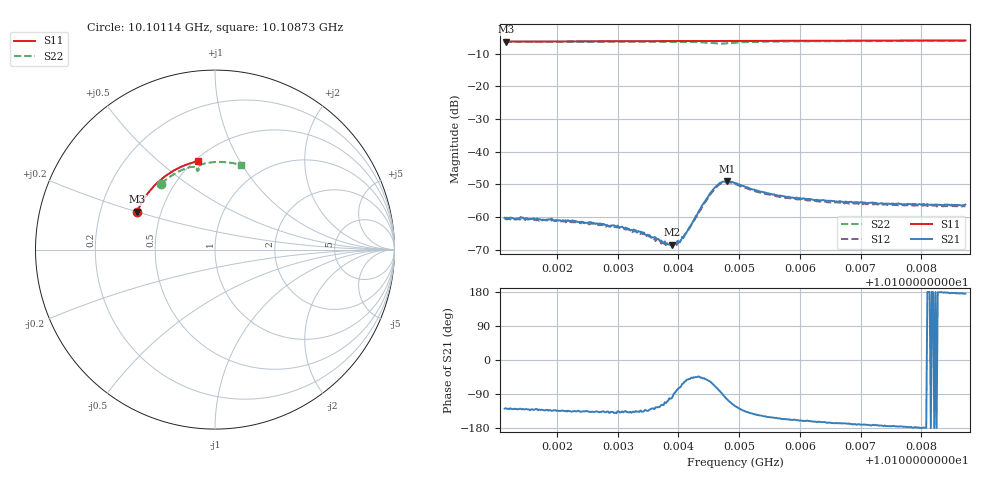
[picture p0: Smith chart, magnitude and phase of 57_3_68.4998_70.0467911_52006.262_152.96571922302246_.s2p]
#  HZ  S  RI  R  50.00
! Rohde & Schwarz Vector Network Analyzer
! Rohde-Schwarz,ZNB20-2Port,1311601062101988,3.16
! Created: UTC 3/20/2024, 5:06:15 PM
! freq[Hz]  re:S11  im:S11  re:S21  im:S21  re:S12  im:S12  re:S22  im:S22
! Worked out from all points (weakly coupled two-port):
!   401 points, 10.10114 GHz to 10.10873 GHz, reference 50 ohm
!   highest |S21| = -49.08 dB at 10.1048 GHz (marker M1); lowest = -68.5 dB at 10.10389 GHz (marker M2)
!   lowest |S11| = -6.3 dB at 10.10116 GHz (marker M3), VSWR 2.86, Z = 18.3 + j10.1 ohm
!   |S11| at or under -10 dB: nowhere
!   |S22| runs from -7.0 to -6.1 dB; largest |S21 - S12| = 0.00035
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1.0101136e10  -0.4337 0.2109  -0.000599 -0.000758  -0.000528 -0.000764  -0.2995 0.3681
1.0101155e10  -0.4331 0.2118  -0.000578 -0.000756  -0.000504 -0.000776  -0.2986 0.369
1.0101876e10  -0.4142 0.2516  -0.000606 -0.000677  -0.000545 -0.000703  -0.2622 0.3983
1.0102407e10  -0.3979 0.2795  -0.000606 -0.000582  -0.000535 -0.000626  -0.2334 0.4176
1.0103033e10  -0.3765 0.3108  -0.000517 -0.000461  -0.000455 -0.000499  -0.1971 0.4376
1.0103375e10  -0.3636 0.3271  -0.000403 -0.000432  -0.000338 -0.000426  -0.1757 0.447
1.0103679e10  -0.3517 0.3411  -0.000257 -0.000368  -0.000181 -0.00037  -0.1559 0.4543
1.0103792e10  -0.3469 0.3464  -0.000157 -0.000354  -0.000112 -0.000351  -0.1481 0.4567
1.0103887e10  -0.3431 0.3504  -6.91e-05 -0.00037  2.71e-06 -0.000386  -0.1413 0.4586
1.0103982e10  -0.3393 0.3546  9.19e-05 -0.000418  0.000124 -0.000379  -0.1342 0.4601
1.0104058e10  -0.336 0.3581  0.000216 -0.00044  0.000243 -0.000383  -0.1283 0.4608
1.0104172e10  -0.3311 0.3629  0.000431 -0.000518  0.000458 -0.000462  -0.119 0.4616
1.0104418e10  -0.3203 0.3733  0.0011 -0.00122  0.00113 -0.00106  -0.0983 0.4569
1.010457e10  -0.3134 0.3795  0.00113 -0.00236  0.0013 -0.00214  -0.0903 0.4464
1.0104684e10  -0.3085 0.384  0.000427 -0.00328  0.000674 -0.00309  -0.0937 0.4394
1.0104798e10  -0.3033 0.3883  -0.0008 -0.00342  -0.000494 -0.00333  -0.1005 0.4417
1.0104931e10  -0.2972 0.3936  -0.00174 -0.0028  -0.0014 -0.00285  -0.1013 0.4522
1.0105443e10  -0.2727 0.4127  -0.00199 -0.00119  -0.00181 -0.00129  -0.0688 0.4767
1.0105879e10  -0.2509 0.4276  -0.00184 -0.000736  -0.00167 -0.000855  -0.0385 0.4839
1.0106202e10  -0.2341 0.4378  -0.00176 -0.000575  -0.00161 -0.000724  -0.0166 0.4866
1.0107473e10  -0.165 0.4711  -0.00158 -0.000141  -0.0015 -0.000297  0.0666 0.4864
1.0108725e10  -0.0925 0.4929  -0.00154 0.000128  -0.00145 -4.38e-05  0.1456 0.4717
